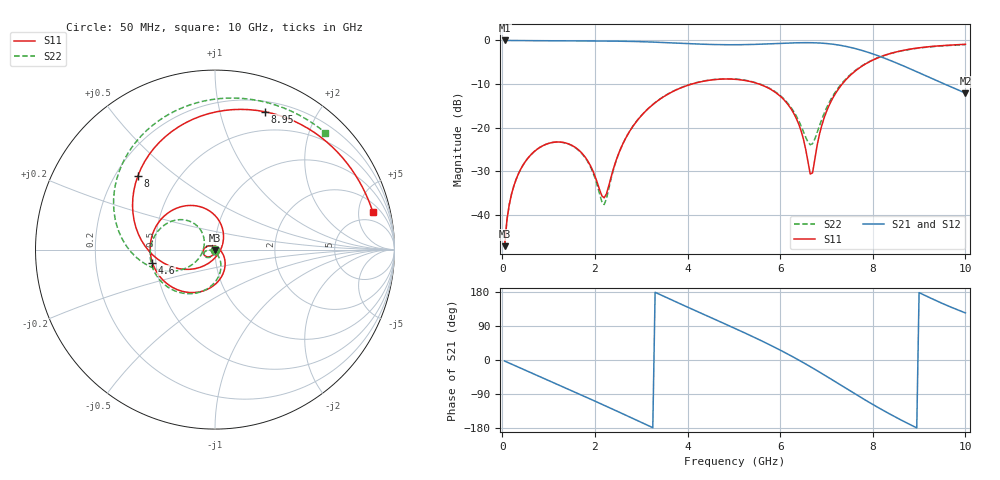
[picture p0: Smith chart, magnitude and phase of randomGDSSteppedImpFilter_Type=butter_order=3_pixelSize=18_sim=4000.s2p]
! freq	dB(S11)	phase(S11)	dB(S12)	phase(S12)
!  dB(S21)	phase(S21)	dB(S22)	phase(S22)
!S-par simulation data
#  GHz  S  DB  R 50
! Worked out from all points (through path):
!   200 points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, 50 MHz to 10 GHz, reference 50 ohm
!   highest |S21| = 0.00 dB at 50 MHz (marker M1); lowest = -12.1 dB at 10 GHz (marker M2)
!   group delay of S21, straight-line fit = 168 ps
!   lowest |S11| = -47.2 dB at 50 MHz (marker M3), VSWR 1.01, Z = 50 - j0.437 ohm
!   |S11| at or under -10 dB: start of sweep to 4.093 GHz; 5.545 GHz to 7.34 GHz (1.795 GHz wide, 27.9 % of centre)
!   |S22| runs from -47.2 to -1.0 dB; largest |S21 - S12| = 0
!   S11 on the Smith chart (normalised r, x): 50 MHz: 1.00, -0.01; 4.6 GHz: 0.48, -0.08; 8 GHz: 0.29, +0.37; 8.95 GHz: 0.30, +1.38; 10 GHz: 3.09, +7.14
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0.05  -47.18 -92.1  -0.00 -2.8  -0.00 -2.8  -47.17 -91.7
0.15  -37.69 -98.5  -0.01 -8.2  -0.01 -8.2  -37.68 -97.4
0.25  -33.34 -104.4  -0.02 -13.6  -0.02 -13.6  -33.33 -102.6
0.6  -26.42 -125.2  -0.05 -32.5  -0.05 -32.5  -26.41 -120.5
1.2  -23.28 -161.8  -0.09 -64.9  -0.09 -64.9  -23.30 -150.5
1.75  -26.22 159.2  -0.11 -94.8  -0.11 -94.8  -26.34 -172.9
2.2  -36.10 57.4  -0.13 -119.5  -0.13 -119.5  -37.64 -116.3
2.65  -22.71 -43.3  -0.19 -144.7  -0.19 -144.7  -22.71 -65.4
3.4  -13.50 -96.0  -0.44 173.0  -0.44 173.0  -13.46 -98.4
4.6  -8.97 -168.2  -0.95 106.6  -0.95 106.6  -8.92 -158.0
5.05  -8.93 164.8  -0.98 81.9  -0.98 81.9  -8.87 -180.0
5.6  -10.22 130.0  -0.85 50.5  -0.85 50.5  -10.14 153.4
6.15  -14.43 89.9  -0.61 16.6  -0.61 16.6  -14.21 129.6
6.4  -19.16 65.7  -0.53 -0.0  -0.53 -0.0  -18.38 127.1
6.7  -30.36 -57.1  -0.53 -21.0  -0.53 -21.0  -23.66 -178.8
6.85  -21.48 -115.4  -0.59 -31.9  -0.59 -31.9  -19.53 -151.0
7.1  -13.95 -146.7  -0.81 -50.5  -0.81 -50.5  -13.43 -148.7
7.5  -8.15 176.9  -1.55 -80.6  -1.55 -80.6  -7.98 -168.7
8  -4.51 136.1  -3.08 -117.3  -3.08 -117.3  -4.47 160.0
8.35  -3.09 110.1  -4.47 -141.4  -4.47 -141.4  -3.10 138.1
8.95  -1.76 70.2  -7.18 -179.2  -7.18 -179.2  -1.81 102.5
10  -0.88 13.5  -12.09 124.3  -12.09 124.3  -0.96 46.7
